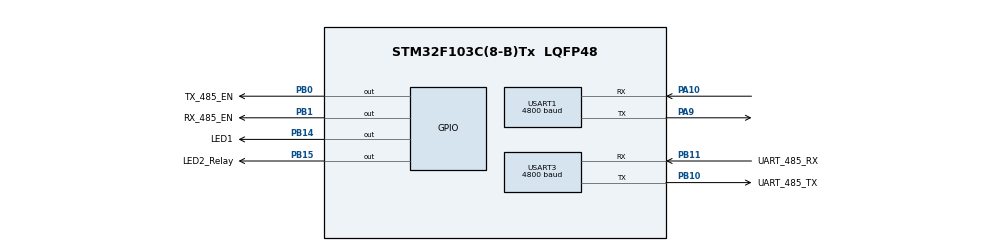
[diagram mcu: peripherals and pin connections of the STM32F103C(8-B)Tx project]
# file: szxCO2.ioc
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Mcu.Family=STM32F1
Mcu.Name=STM32F103C(8-B)Tx
Mcu.Package=LQFP48
NVIC.PriorityGroup=NVIC_PRIORITYGROUP_4
PA10.Mode=Asynchronous
PA10.Signal=USART1_RX
PA13.Mode=Serial_Wire
PA13.Signal=SYS_JTMS-SWDIO
PA14.Mode=Serial_Wire
PA14.Signal=SYS_JTCK-SWCLK
PA9.Mode=Asynchronous
PA9.Signal=USART1_TX
PB0.GPIO_Label=TX_485_EN
PB0.Signal=GPIO_Output
PB1.GPIO_Label=RX_485_EN
PB1.Signal=GPIO_Output
PB10.GPIO_Label=UART_485_TX
PB10.Mode=Asynchronous
PB10.Signal=USART3_TX
PB11.GPIO_Label=UART_485_RX
PB11.Mode=Asynchronous
PB11.Signal=USART3_RX
PB14.GPIO_Label=LED1
PB14.Signal=GPIO_Output
PB15.GPIO_Label=LED2_Relay
PB15.Signal=GPIO_Output
ProjectManager.HeapSize=0x200
ProjectManager.StackSize=0x400
ProjectManager.TargetToolchain=STM32CubeIDE
RCC.APB1Freq_Value=8000000
RCC.APB2Freq_Value=8000000
USART1.BaudRate=4800
USART1.VirtualMode=VM_ASYNC
USART3.BaudRate=4800
USART3.VirtualMode=VM_ASYNC
board=custom

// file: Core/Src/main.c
/* USER CODE BEGIN Header */
/**
  ******************************************************************************
  * @file           : main.c
  * @brief          : Main program body
  ******************************************************************************
  * @attention
  *
  * Copyright (c) 2024 STMicroelectronics.
  * All rights reserved.
  *
  * This software is licensed under terms that can be found in the LICENSE file
  * in the root directory of this software component.
  * If no LICENSE file comes with this software, it is provided AS-IS.
  *
  ******************************************************************************
  */
/* USER CODE END Header */
#include "main.h"

/* USER CODE BEGIN Includes */
#include <string.h>
#include <stdio.h>

/* USER CODE END Includes */

UART_HandleTypeDef huart1;
UART_HandleTypeDef huart3;

void SystemClock_Config(void);
static void MX_GPIO_Init(void);
static void MX_USART3_UART_Init(void);
static void MX_USART1_UART_Init(void);
/* USER CODE BEGIN PFP */
void RS485_EnableTX(void);
void RS485_EnableRX(void);
static uint16_t MODBUS_CRC16_v1( const unsigned char *buf, unsigned int len );

/* USER CODE END PFP */

int main(void)
{

  /* MCU Configuration--------------------------------------------------------*/

  /* Reset of all peripherals, Initializes the Flash interface and the Systick. */
  HAL_Init();

  /* USER CODE BEGIN Init */
  uint8_t tx_buff_read_addr[8] = {0x01, 0x03, 0x07, 0xD0, 0x00, 0x02, 0xC4, 0x86};
  uint8_t tx_buff_read_co2[8] = {0x01, 0x03, 0x00, 0x02, 0x00, 0x01, 0x25, 0xCA};
  uint8_t addr_correct[9] = {0x01, 0x03, 0x04, 0x00, 0x01, 0x00, 0x01, 0x6A, 0x33};
  uint8_t rx_buff_addr[9];
  uint8_t rx_buff_co2[7];

  char txt_buffer[100]; // Buffer to hold the converted string

  int co2 = 0;  // percentage * 100

  int thresh_high = 2200;  // 100x %
  int thresh_low = 1800;  // 100x %

  /* USER CODE END Init */

  /* Configure the system clock */
  SystemClock_Config();

  /* Initialize all configured peripherals */
  MX_GPIO_Init();
  MX_USART3_UART_Init();
  MX_USART1_UART_Init();
  /* USER CODE BEGIN 2 */
  HAL_Delay(2000);

  while (1)  // ensure that the CO2 sensor is correctly initialized
  {
	  HAL_Delay(500);

      RS485_EnableTX();
      HAL_UART_Transmit(&huart3, tx_buff_read_addr, sizeof(tx_buff_read_addr), HAL_MAX_DELAY);

      // Switch to RX and receive data
      RS485_EnableRX();
      HAL_UART_Receive(&huart3, rx_buff_addr, sizeof(rx_buff_addr), HAL_MAX_DELAY);

      if(rx_buff_addr[7]==addr_correct[7] && rx_buff_addr[8]==addr_correct[8])
      {
    	  sprintf(txt_buffer, "The address check has passed! Start the controller now!\r\n");
    	  HAL_UART_Transmit(&huart1, (uint8_t*)txt_buffer, strlen(txt_buffer), HAL_MAX_DELAY);
    	  break;
      }
  }

  /* USER CODE END 2 */

  /* Infinite loop */
  /* USER CODE BEGIN WHILE */
  while (1)
  {
	  HAL_GPIO_TogglePin(LED1_GPIO_Port, LED1_Pin);
	  HAL_Delay(500);

      // Enable TX and send data
      RS485_EnableTX();
      HAL_UART_Transmit(&huart3, tx_buff_read_co2, sizeof(tx_buff_read_co2), HAL_MAX_DELAY);

      // Switch to RX and receive data
      RS485_EnableRX();
      HAL_UART_Receive(&huart3, rx_buff_co2, sizeof(rx_buff_co2), HAL_MAX_DELAY);

      // Check CRC
      uint16_t crc_correct = MODBUS_CRC16_v1(rx_buff_co2, 5);
      uint16_t crc_received = (rx_buff_co2[6] << 8) | rx_buff_co2[5];  // Combine high and low bits correctly

      if (crc_received != crc_correct)
      {
          sprintf(txt_buffer, "CRC is incorrect. Correct: %u, Received: %u.\r\n", crc_correct, crc_received);
          HAL_UART_Transmit(&huart1, (uint8_t*)txt_buffer, strlen(txt_buffer), HAL_MAX_DELAY);

          // clear all waiting data.
          uint8_t rx_char;
          while (HAL_UART_Receive(&huart3, &rx_char, 1, 5) == HAL_OK) { }

          continue;
      }

      // get CO2 concentration
      co2 = (int)rx_buff_co2[3] * 256 + ((int)rx_buff_co2[4]);

      if (co2 % 100 < 10)
    	  sprintf(txt_buffer, "CO2 now is %d.0%d %%\r\n", co2 / 100, co2 % 100);
      else
    	  sprintf(txt_buffer, "CO2 now is %d.%d %%\r\n", co2 / 100, co2 % 100);

      HAL_UART_Transmit(&huart1, (uint8_t*)txt_buffer, strlen(txt_buffer), HAL_MAX_DELAY);

      // control
      if (co2 < thresh_low)
      {
    	  HAL_GPIO_WritePin(LED2_Relay_GPIO_Port, LED2_Relay_Pin, GPIO_PIN_SET);
      }

      if (co2 > thresh_high)
      {
    	  HAL_GPIO_WritePin(LED2_Relay_GPIO_Port, LED2_Relay_Pin, GPIO_PIN_RESET);
      }

    /* USER CODE END WHILE */

  }
}

void SystemClock_Config(void)
{
  RCC_OscInitTypeDef RCC_OscInitStruct = {0};
  RCC_ClkInitTypeDef RCC_ClkInitStruct = {0};

  /** Initializes the RCC Oscillators according to the specified parameters
  * in the RCC_OscInitTypeDef structure.
  */
  RCC_OscInitStruct.OscillatorType = RCC_OSCILLATORTYPE_HSI;
  RCC_OscInitStruct.HSIState = RCC_HSI_ON;
  RCC_OscInitStruct.HSICalibrationValue = RCC_HSICALIBRATION_DEFAULT;
  RCC_OscInitStruct.PLL.PLLState = RCC_PLL_NONE;
  if (HAL_RCC_OscConfig(&RCC_OscInitStruct) != HAL_OK)
  {
    Error_Handler();
  }

  /** Initializes the CPU, AHB and APB buses clocks
  */
  RCC_ClkInitStruct.ClockType = RCC_CLOCKTYPE_HCLK|RCC_CLOCKTYPE_SYSCLK
                              |RCC_CLOCKTYPE_PCLK1|RCC_CLOCKTYPE_PCLK2;
  RCC_ClkInitStruct.SYSCLKSource = RCC_SYSCLKSOURCE_HSI;
  RCC_ClkInitStruct.AHBCLKDivider = RCC_SYSCLK_DIV1;
  RCC_ClkInitStruct.APB1CLKDivider = RCC_HCLK_DIV1;
  RCC_ClkInitStruct.APB2CLKDivider = RCC_HCLK_DIV1;

  if (HAL_RCC_ClockConfig(&RCC_ClkInitStruct, FLASH_LATENCY_0) != HAL_OK)
  {
    Error_Handler();
  }
}

static void MX_USART1_UART_Init(void)
{

  huart1.Instance = USART1;
  huart1.Init.BaudRate = 4800;
  huart1.Init.WordLength = UART_WORDLENGTH_8B;
  huart1.Init.StopBits = UART_STOPBITS_1;
  huart1.Init.Parity = UART_PARITY_NONE;
  huart1.Init.Mode = UART_MODE_TX_RX;
  huart1.Init.HwFlowCtl = UART_HWCONTROL_NONE;
  huart1.Init.OverSampling = UART_OVERSAMPLING_16;
  if (HAL_UART_Init(&huart1) != HAL_OK)
  {
    Error_Handler();
  }

}

static void MX_USART3_UART_Init(void)
{

  huart3.Instance = USART3;
  huart3.Init.BaudRate = 4800;
  huart3.Init.WordLength = UART_WORDLENGTH_8B;
  huart3.Init.StopBits = UART_STOPBITS_1;
  huart3.Init.Parity = UART_PARITY_NONE;
  huart3.Init.Mode = UART_MODE_TX_RX;
  huart3.Init.HwFlowCtl = UART_HWCONTROL_NONE;
  huart3.Init.OverSampling = UART_OVERSAMPLING_16;
  if (HAL_UART_Init(&huart3) != HAL_OK)
  {
    Error_Handler();
  }

}

static void MX_GPIO_Init(void)
{
  GPIO_InitTypeDef GPIO_InitStruct = {0};

  /* GPIO Ports Clock Enable */
  __HAL_RCC_GPIOB_CLK_ENABLE();
  __HAL_RCC_GPIOA_CLK_ENABLE();

  /*Configure GPIO pin Output Level */
  HAL_GPIO_WritePin(GPIOB, TX_485_EN_Pin|RX_485_EN_Pin|LED1_Pin|LED2_Relay_Pin, GPIO_PIN_RESET);

  /*Configure GPIO pins : TX_485_EN_Pin RX_485_EN_Pin LED1_Pin LED2_Relay_Pin */
  GPIO_InitStruct.Pin = TX_485_EN_Pin|RX_485_EN_Pin|LED1_Pin|LED2_Relay_Pin;
  GPIO_InitStruct.Mode = GPIO_MODE_OUTPUT_PP;
  GPIO_InitStruct.Pull = GPIO_NOPULL;
  GPIO_InitStruct.Speed = GPIO_SPEED_FREQ_LOW;
  HAL_GPIO_Init(GPIOB, &GPIO_InitStruct);

}

/* USER CODE BEGIN 4 */

// Function to enable TX
void RS485_EnableTX(void) {
    HAL_GPIO_WritePin(TX_485_EN_GPIO_Port, TX_485_EN_Pin, GPIO_PIN_SET);
    HAL_GPIO_WritePin(RX_485_EN_GPIO_Port, RX_485_EN_Pin, GPIO_PIN_SET);
}

// Function to enable RX
void RS485_EnableRX(void) {
    HAL_GPIO_WritePin(TX_485_EN_GPIO_Port, TX_485_EN_Pin, GPIO_PIN_RESET);
    HAL_GPIO_WritePin(RX_485_EN_GPIO_Port, RX_485_EN_Pin, GPIO_PIN_RESET);
}

static uint16_t MODBUS_CRC16_v1( const unsigned char *buf, unsigned int len )
{
	uint16_t crc = 0xFFFF;
	char i = 0;

	while(len--)
	{
		crc ^= (*buf++);

		for(i = 0; i < 8; i++)
		{
			if( crc & 1 )
			{
				crc >>= 1;
				crc ^= 0xA001;
			}
			else
			{
				crc >>= 1;
			}
		}
	}

	return crc;
}

/* USER CODE END 4 */

void Error_Handler(void)
{
  __disable_irq();
  while (1)
  {
  }
}
